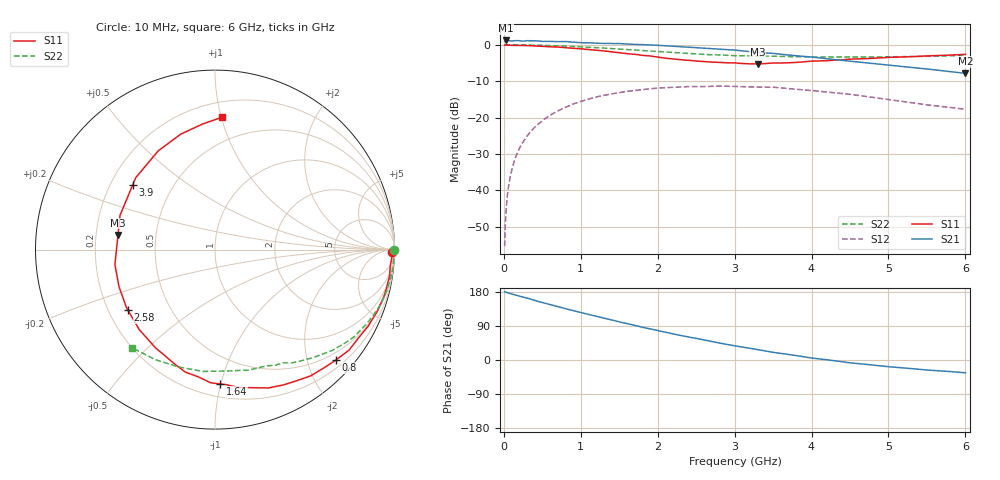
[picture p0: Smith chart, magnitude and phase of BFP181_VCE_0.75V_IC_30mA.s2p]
! Infineon Technologies  Discrete & RF Semiconductors
! BFP181
! VCE = 0.75V,  IC =  30 mA
! Common Emitter S-Parameters:  Jan 2016
# GHz  S  MA  R  50
!  f  S11  S21  S12  S22
! GHz  MAG  ANG  MAG  ANG  MAG  ANG  MAG  ANG
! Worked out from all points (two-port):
!   210 points, 10 MHz to 6 GHz, reference 50 ohm
!   highest |S21| = 1.19 dB at 25 MHz (marker M1); lowest = -7.9 dB at 6 GHz (marker M2)
!   |S21| within 3 dB of the highest: start of sweep to 3.16 GHz
!   lowest |S11| = -5.2 dB at 3.3 GHz (marker M3), VSWR 3.41, Z = 14.7 + j3.43 ohm
!   |S11| at or under -10 dB: nowhere
!   |S22| runs from -3.4 to 0.0 dB; largest |S21 - S12| = 1.1
!   S11 on the Smith chart (normalised r, x): 10 MHz: open; 800 MHz: 0.35, -2.54; 1.64 GHz: 0.29, -1.00; 2.58 GHz: 0.28, -0.29; 3.9 GHz: 0.29, +0.32; 6 GHz: 0.31, +1.01
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0.01  0.9878 -0.7  1.124 179.9  0.0017 83.9  0.9984 -0.2
0.015  0.9889 -0.9  1.135 179.7  0.0026 86.5  0.9982 -0.3
0.025  0.9895 -1.2  1.147 179.2  0.0045 88.8  0.9979 -0.6
0.035  0.9882 -1.6  1.147 178.4  0.0064 90.0  0.9979 -0.9
0.05  0.9865 -2.3  1.147 177.2  0.0093 90.9  0.9978 -1.4
0.085  0.9822 -4.4  1.132 175.3  0.0157 86.9  0.9972 -2.4
0.14  0.9831 -7.5  1.138 172.2  0.026 84.3  0.997 -3.9
0.22  0.9802 -11.7  1.131 167.6  0.0407 81.1  0.9958 -6.2
0.44  0.9608 -23.1  1.128 154.9  0.0799 72.5  0.9858 -12.3
0.8  0.9124 -42.4  1.109 135.7  0.1376 58.3  0.9581 -21.9
1.02  0.8776 -53.9  1.069 124.3  0.1687 49.9  0.9341 -27.4
1.3  0.8258 -69.0  1.046 110.5  0.2017 39.7  0.9004 -34.3
1.64  0.749 -87.8  1.019 94.4  0.2312 28.8  0.855 -41.5
2.02  0.6728 -110.1  0.98 76.7  0.2548 17.7  0.807 -48.6
2.58  0.5905 -145.4  0.901 53.9  0.2664 2.3  0.7378 -58.8
3.1  0.5526 -177.1  0.824 34.3  0.2655 -10.9  0.7051 -67.7
3.3  0.5466 171.4  0.787 27.5  0.2625 -15.2  0.6998 -71.0
3.9  0.5827 141.9  0.692 8.5  0.2398 -27.1  0.6812 -82.5
4.1  0.5992 134.0  0.661 3.0  0.2295 -30.7  0.678 -86.8
4.5  0.6346 119.9  0.596 -7.5  0.2083 -37.6  0.6821 -95.6
5.1  0.6752 104.4  0.513 -19.3  0.1708 -42.5  0.6848 -109.3
6  0.7386 86.9  0.405 -33.7  0.1299 -39.7  0.7154 -130.1
